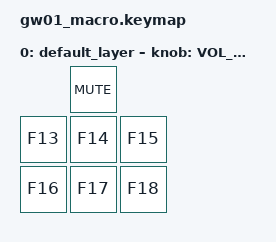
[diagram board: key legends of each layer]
#include <behaviors.dtsi>
#include <dt-bindings/zmk/keys.h>
#include <dt-bindings/zmk/bt.h>
#include <dt-bindings/zmk/outputs.h>

/ {
	keymap {
		compatible = "zmk,keymap";

		default_layer {
// -----------------------------------------------------------------------------------------
//   |         MUTE          |
//   |                       |
//   | ESC   | Q     | W     |
//   | TAB   | A     | S     |
			bindings = <
                &kp C_MUTE

    &kp F13     &kp F14     &kp F15
    &kp F16     &kp F17     &kp F18
			>;

            sensor-bindings = <&inc_dec_kp C_VOL_DN C_VOL_UP>;
		};
	};
};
